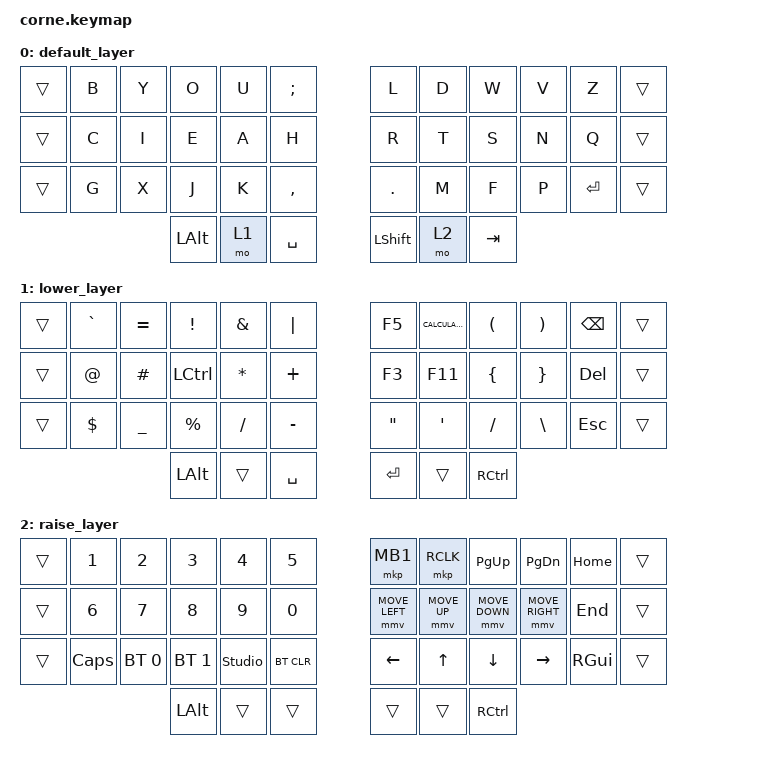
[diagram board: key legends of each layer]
/*
 * Copyright (c) 2020 The ZMK Contributors
 *
 * SPDX-License-Identifier: MIT
 */

#include <behaviors.dtsi>
#include <dt-bindings/zmk/bt.h>
#include <dt-bindings/zmk/keys.h>
#include <dt-bindings/zmk/pointing.h>

/ {
    keymap {
        compatible = "zmk,keymap";

        default_layer {
            // -----------------------------------------------------------------------------------------
            // |  TAB |  Q  |  W  |  E  |  R  |  T  |   |  Y  |  U   |  I  |  O  |  P  | BSPC |
            // | CTRL |  A  |  S  |  D  |  F  |  G  |   |  H  |  J   |  K  |  L  |  ;  |  '   |
            // | SHFT |  Z  |  X  |  C  |  V  |  B  |   |  N  |  M   |  ,  |  .  |  /  | ESC  |
            //                    | GUI | LWR | SPC |   | ENT | RSE  | ALT |

            bindings = <
&trans  &kp B  &kp Y  &kp O         &kp U  &kp SEMICOLON    &kp L           &kp D  &kp W    &kp V  &kp Z      &trans
&trans  &kp C  &kp I  &kp E         &kp A  &kp H            &kp R           &kp T  &kp S    &kp N  &kp Q      &trans
&trans  &kp G  &kp X  &kp J         &kp K  &kp COMMA        &kp PERIOD      &kp M  &kp F    &kp P  &kp ENTER  &trans
                      &kp LEFT_ALT  &mo 1  &kp SPACE        &kp LEFT_SHIFT  &mo 2  &kp TAB
            >;
        };

        lower_layer {
            // -----------------------------------------------------------------------------------------
            // |  TAB |  1  |  2  |  3  |  4  |  5  |   |  6  |  7  |  8  |  9  |  0  | BSPC |
            // | BTCLR| BT1 | BT2 | BT3 | BT4 | BT5 |   | LFT | DWN |  UP | RGT |     |      |
            // | SHFT |     |     |     |     |     |   |     |     |     |     |     |      |
            //                    | GUI |     | SPC |   | ENT |     | ALT |

            bindings = <
&trans  &kp GRAVE    &kp EQUAL       &kp EXCLAMATION  &kp AMPERSAND  &kp PIPE     &kp F5             &kp K_CALCULATOR  &kp LEFT_PARENTHESIS  &kp RIGHT_PARENTHESIS  &kp BACKSPACE  &trans
&trans  &kp AT_SIGN  &kp HASH        &kp LCTRL        &kp ASTERISK   &kp PLUS     &kp F3             &kp F11           &kp LEFT_BRACE        &kp RIGHT_BRACE        &kp DELETE     &trans
&trans  &kp DOLLAR   &kp UNDERSCORE  &kp PERCENT      &kp SLASH      &kp MINUS    &kp DOUBLE_QUOTES  &kp SQT           &kp SLASH             &kp BSLH               &kp ESCAPE     &trans
                                     &kp LEFT_ALT     &trans         &kp SPACE    &kp RET            &trans            &kp RCTRL
            >;
        };

        raise_layer {
            // -----------------------------------------------------------------------------------------
            // |  TAB |  !  |  @  |  #  |  $  |  %  |   |  ^  |  &  |  *  |  (  |  )  | BSPC |
            // | CTRL |     |     |     |     |     |   |  -  |  =  |  [  |  ]  |  \  |  `   |
            // | SHFT |     |     |     |     |     |   |  _  |  +  |  {  |  }  | "|" |  ~   |
            //                    | GUI |     | SPC |   | ENT |     | ALT |

            bindings = <
&trans  &kp NUMBER_1  &kp NUMBER_2  &kp NUMBER_3  &kp NUMBER_4    &kp N5        &mkp MB1        &mkp RCLK     &kp PAGE_UP     &kp PAGE_DOWN    &kp HOME       &trans
&trans  &kp NUMBER_6  &kp N7        &kp N8        &kp N9          &kp N0        &mmv MOVE_LEFT  &mmv MOVE_UP  &mmv MOVE_DOWN  &mmv MOVE_RIGHT  &kp END        &trans
&trans  &kp CAPSLOCK  &bt BT_SEL 0  &bt BT_SEL 1  &studio_unlock  &bt BT_CLR    &kp LEFT        &kp UP        &kp DOWN        &kp RIGHT        &kp RIGHT_GUI  &trans
                                    &kp LEFT_ALT  &trans          &trans        &trans          &trans        &kp RCTRL
            >;
        };
    };
};
